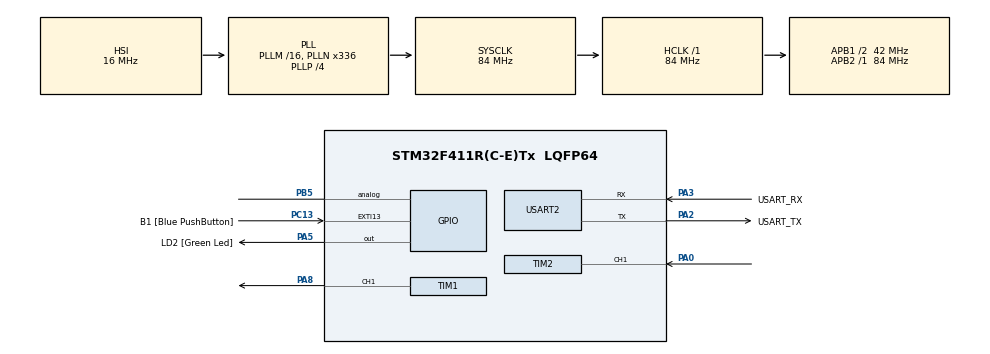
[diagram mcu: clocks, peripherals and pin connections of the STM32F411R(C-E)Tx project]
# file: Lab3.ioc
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Dma.Request0=TIM2_CH1
Dma.TIM2_CH1.0.Direction=DMA_PERIPH_TO_MEMORY
Dma.TIM2_CH1.0.FIFOMode=DMA_FIFOMODE_DISABLE
Dma.TIM2_CH1.0.Instance=DMA1_Stream5
Dma.TIM2_CH1.0.MemDataAlignment=DMA_MDATAALIGN_WORD
Dma.TIM2_CH1.0.MemInc=DMA_MINC_ENABLE
Dma.TIM2_CH1.0.Mode=DMA_CIRCULAR
Dma.TIM2_CH1.0.PeriphDataAlignment=DMA_PDATAALIGN_WORD
Dma.TIM2_CH1.0.PeriphInc=DMA_PINC_DISABLE
Dma.TIM2_CH1.0.Priority=DMA_PRIORITY_LOW
Mcu.Family=STM32F4
Mcu.Name=STM32F411R(C-E)Tx
Mcu.Package=LQFP64
NVIC.DMA1_Stream5_IRQn=true\:0\:0\:false\:false\:true\:false\:true\:true
NVIC.PriorityGroup=NVIC_PRIORITYGROUP_0
PA0-WKUP.Signal=S_TIM2_CH1_ETR
PA13.GPIO_Label=TMS
PA13.Mode=Serial_Wire
PA13.Signal=SYS_JTMS-SWDIO
PA14.GPIO_Label=TCK
PA14.Mode=Serial_Wire
PA14.Signal=SYS_JTCK-SWCLK
PA2.GPIO_Label=USART_TX
PA2.Mode=Asynchronous
PA2.Signal=USART2_TX
PA3.GPIO_Label=USART_RX
PA3.Mode=Asynchronous
PA3.Signal=USART2_RX
PA5.GPIO_Label=LD2 [Green Led]
PA5.Signal=GPIO_Output
PA8.Signal=S_TIM1_CH1
PB3.GPIO_Label=SWO
PB3.Signal=SYS_JTDO-SWO
PB5.Signal=GPIO_Analog
PC13-ANTI_TAMP.GPIO_Label=B1 [Blue PushButton]
PC13-ANTI_TAMP.GPIO_ModeDefaultEXTI=GPIO_MODE_IT_FALLING
PC13-ANTI_TAMP.Signal=GPXTI13
PC14-OSC32_IN.Mode=LSE-External-Oscillator
PC14-OSC32_IN.Signal=RCC_OSC32_IN
PC15-OSC32_OUT.Mode=LSE-External-Oscillator
PC15-OSC32_OUT.Signal=RCC_OSC32_OUT
PH0\ -\ OSC_IN.Mode=HSE-External-Clock-Source
PH0\ -\ OSC_IN.Signal=RCC_OSC_IN
PH1\ -\ OSC_OUT.Mode=HSE-External-Clock-Source
PH1\ -\ OSC_OUT.Signal=RCC_OSC_OUT
ProjectManager.HeapSize=0x200
ProjectManager.StackSize=0x400
ProjectManager.TargetToolchain=STM32CubeIDE
RCC.48MHZClocksFreq_Value=84000000
RCC.AHBFreq_Value=84000000
RCC.APB1CLKDivider=RCC_HCLK_DIV2
RCC.APB1Freq_Value=42000000
RCC.APB1TimFreq_Value=84000000
RCC.APB2Freq_Value=84000000
RCC.APB2TimFreq_Value=84000000
RCC.CortexFreq_Value=84000000
RCC.FLatency-AdvancedSettings=FLASH_LATENCY_2
RCC.HCLKFreq_Value=84000000
RCC.HSE_VALUE=8000000
RCC.HSI_VALUE=16000000
RCC.PLLN=336
RCC.PLLP=RCC_PLLP_DIV4
RCC.SYSCLKFreq_VALUE=84000000
RCC.SYSCLKSource=RCC_SYSCLKSOURCE_PLLCLK
RCC.VCOOutputFreq_Value=336000000
SH.S_TIM1_CH1.0=TIM1_CH1,PWM Generation1 CH1
SH.S_TIM2_CH1_ETR.0=TIM2_CH1,Input_Capture1_from_TI1
TIM1.Channel-PWM\ Generation1\ CH1=TIM_CHANNEL_1
TIM1.Period=999
TIM1.Prescaler=83
TIM2.Channel-Input_Capture1_from_TI1=TIM_CHANNEL_1
TIM2.Prescaler=83
USART2.VirtualMode=VM_ASYNC
VP_TIM1_VS_ClockSourceINT.Mode=Internal
VP_TIM2_VS_ClockSourceINT.Mode=Internal
board=NUCLEO-F411RE

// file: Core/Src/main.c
/* USER CODE BEGIN Header */
/**
  ******************************************************************************
  * @file           : main.c
  * @brief          : Main program body
  ******************************************************************************
  * @attention
  *
  * Copyright (c) 2023 STMicroelectronics.
  * All rights reserved.
  *
  * This software is licensed under terms that can be found in the LICENSE file
  * in the root directory of this software component.
  * If no LICENSE file comes with this software, it is provided AS-IS.
  *
  ******************************************************************************
  */
/* USER CODE END Header */
#include "main.h"

/* USER CODE BEGIN Includes */
#define IC_BUFFER_SIZE 20
/* USER CODE END Includes */

TIM_HandleTypeDef htim1;
TIM_HandleTypeDef htim2;
DMA_HandleTypeDef hdma_tim2_ch1;

UART_HandleTypeDef huart2;

/* USER CODE BEGIN PV */
uint32_t InputCaptuerBuffer[IC_BUFFER_SIZE];
float MotorReadRPM;
float check;

uint32_t MotorSetDuty = 0;
uint32_t duty = 0;
uint8_t set = 0;
uint32_t set_RPM = 0;
uint32_t new_duty = 0;
uint32_t MotorControlEnabel = 0;
/* USER CODE END PV */

void SystemClock_Config(void);
static void MX_GPIO_Init(void);
static void MX_DMA_Init(void);
static void MX_USART2_UART_Init(void);
static void MX_TIM1_Init(void);
static void MX_TIM2_Init(void);
/* USER CODE BEGIN PFP */
int setRPM(float now_rpm, uint32_t setRPM);
float IC_Calc_Period();
/* USER CODE END PFP */

int main(void)
{

  /* MCU Configuration--------------------------------------------------------*/

  /* Reset of all peripherals, Initializes the Flash interface and the Systick. */
  HAL_Init();

  /* Configure the system clock */
  SystemClock_Config();

  /* Initialize all configured peripherals */
  MX_GPIO_Init();
  MX_DMA_Init();
  MX_USART2_UART_Init();
  MX_TIM1_Init();
  MX_TIM2_Init();
  /* USER CODE BEGIN 2 */
  HAL_TIM_Base_Start(&htim2);
  HAL_TIM_IC_Start_DMA(&htim2, TIM_CHANNEL_1, InputCaptuerBuffer, IC_BUFFER_SIZE);

  HAL_TIM_Base_Start(&htim1);
  HAL_TIM_PWM_Start(&htim1, TIM_CHANNEL_1);
  /* USER CODE END 2 */

  /* Infinite loop */
  while (1)
  {

    /* USER CODE BEGIN 3 */
	  static uint32_t timestamp = 0;
	  if(HAL_GetTick()>=timestamp)
	  {
		  timestamp = HAL_GetTick() + 500;
		  MotorReadRPM = IC_Calc_Period();
		  if(MotorControlEnabel == 1)
		  {
			  duty = setRPM(MotorReadRPM,set_RPM);
			  __HAL_TIM_SET_COMPARE(&htim1,TIM_CHANNEL_1,duty);
		  }
		  else
		  {
			  duty = MotorSetDuty*10;
			  __HAL_TIM_SET_COMPARE(&htim1,TIM_CHANNEL_1,duty);
		  }

	  }
  }
  /* USER CODE END 3 */
}

void SystemClock_Config(void)
{
  RCC_OscInitTypeDef RCC_OscInitStruct = {0};
  RCC_ClkInitTypeDef RCC_ClkInitStruct = {0};

  /** Configure the main internal regulator output voltage
  */
  __HAL_RCC_PWR_CLK_ENABLE();
  __HAL_PWR_VOLTAGESCALING_CONFIG(PWR_REGULATOR_VOLTAGE_SCALE1);

  /** Initializes the RCC Oscillators according to the specified parameters
  * in the RCC_OscInitTypeDef structure.
  */
  RCC_OscInitStruct.OscillatorType = RCC_OSCILLATORTYPE_HSI;
  RCC_OscInitStruct.HSIState = RCC_HSI_ON;
  RCC_OscInitStruct.HSICalibrationValue = RCC_HSICALIBRATION_DEFAULT;
  RCC_OscInitStruct.PLL.PLLState = RCC_PLL_ON;
  RCC_OscInitStruct.PLL.PLLSource = RCC_PLLSOURCE_HSI;
  RCC_OscInitStruct.PLL.PLLM = 16;
  RCC_OscInitStruct.PLL.PLLN = 336;
  RCC_OscInitStruct.PLL.PLLP = RCC_PLLP_DIV4;
  RCC_OscInitStruct.PLL.PLLQ = 4;
  if (HAL_RCC_OscConfig(&RCC_OscInitStruct) != HAL_OK)
  {
    Error_Handler();
  }

  /** Initializes the CPU, AHB and APB buses clocks
  */
  RCC_ClkInitStruct.ClockType = RCC_CLOCKTYPE_HCLK|RCC_CLOCKTYPE_SYSCLK
                              |RCC_CLOCKTYPE_PCLK1|RCC_CLOCKTYPE_PCLK2;
  RCC_ClkInitStruct.SYSCLKSource = RCC_SYSCLKSOURCE_PLLCLK;
  RCC_ClkInitStruct.AHBCLKDivider = RCC_SYSCLK_DIV1;
  RCC_ClkInitStruct.APB1CLKDivider = RCC_HCLK_DIV2;
  RCC_ClkInitStruct.APB2CLKDivider = RCC_HCLK_DIV1;

  if (HAL_RCC_ClockConfig(&RCC_ClkInitStruct, FLASH_LATENCY_2) != HAL_OK)
  {
    Error_Handler();
  }
}

static void MX_TIM1_Init(void)
{

  TIM_ClockConfigTypeDef sClockSourceConfig = {0};
  TIM_MasterConfigTypeDef sMasterConfig = {0};
  TIM_OC_InitTypeDef sConfigOC = {0};
  TIM_BreakDeadTimeConfigTypeDef sBreakDeadTimeConfig = {0};

  htim1.Instance = TIM1;
  htim1.Init.Prescaler = 83;
  htim1.Init.CounterMode = TIM_COUNTERMODE_UP;
  htim1.Init.Period = 999;
  htim1.Init.ClockDivision = TIM_CLOCKDIVISION_DIV1;
  htim1.Init.RepetitionCounter = 0;
  htim1.Init.AutoReloadPreload = TIM_AUTORELOAD_PRELOAD_DISABLE;
  if (HAL_TIM_Base_Init(&htim1) != HAL_OK)
  {
    Error_Handler();
  }
  sClockSourceConfig.ClockSource = TIM_CLOCKSOURCE_INTERNAL;
  if (HAL_TIM_ConfigClockSource(&htim1, &sClockSourceConfig) != HAL_OK)
  {
    Error_Handler();
  }
  if (HAL_TIM_PWM_Init(&htim1) != HAL_OK)
  {
    Error_Handler();
  }
  sMasterConfig.MasterOutputTrigger = TIM_TRGO_RESET;
  sMasterConfig.MasterSlaveMode = TIM_MASTERSLAVEMODE_DISABLE;
  if (HAL_TIMEx_MasterConfigSynchronization(&htim1, &sMasterConfig) != HAL_OK)
  {
    Error_Handler();
  }
  sConfigOC.OCMode = TIM_OCMODE_PWM1;
  sConfigOC.Pulse = 0;
  sConfigOC.OCPolarity = TIM_OCPOLARITY_HIGH;
  sConfigOC.OCNPolarity = TIM_OCNPOLARITY_HIGH;
  sConfigOC.OCFastMode = TIM_OCFAST_DISABLE;
  sConfigOC.OCIdleState = TIM_OCIDLESTATE_RESET;
  sConfigOC.OCNIdleState = TIM_OCNIDLESTATE_RESET;
  if (HAL_TIM_PWM_ConfigChannel(&htim1, &sConfigOC, TIM_CHANNEL_1) != HAL_OK)
  {
    Error_Handler();
  }
  sBreakDeadTimeConfig.OffStateRunMode = TIM_OSSR_DISABLE;
  sBreakDeadTimeConfig.OffStateIDLEMode = TIM_OSSI_DISABLE;
  sBreakDeadTimeConfig.LockLevel = TIM_LOCKLEVEL_OFF;
  sBreakDeadTimeConfig.DeadTime = 0;
  sBreakDeadTimeConfig.BreakState = TIM_BREAK_DISABLE;
  sBreakDeadTimeConfig.BreakPolarity = TIM_BREAKPOLARITY_HIGH;
  sBreakDeadTimeConfig.AutomaticOutput = TIM_AUTOMATICOUTPUT_DISABLE;
  if (HAL_TIMEx_ConfigBreakDeadTime(&htim1, &sBreakDeadTimeConfig) != HAL_OK)
  {
    Error_Handler();
  }
  HAL_TIM_MspPostInit(&htim1);

}

static void MX_TIM2_Init(void)
{

  TIM_ClockConfigTypeDef sClockSourceConfig = {0};
  TIM_MasterConfigTypeDef sMasterConfig = {0};
  TIM_IC_InitTypeDef sConfigIC = {0};

  htim2.Instance = TIM2;
  htim2.Init.Prescaler = 83;
  htim2.Init.CounterMode = TIM_COUNTERMODE_UP;
  htim2.Init.Period = 4294967295;
  htim2.Init.ClockDivision = TIM_CLOCKDIVISION_DIV1;
  htim2.Init.AutoReloadPreload = TIM_AUTORELOAD_PRELOAD_DISABLE;
  if (HAL_TIM_Base_Init(&htim2) != HAL_OK)
  {
    Error_Handler();
  }
  sClockSourceConfig.ClockSource = TIM_CLOCKSOURCE_INTERNAL;
  if (HAL_TIM_ConfigClockSource(&htim2, &sClockSourceConfig) != HAL_OK)
  {
    Error_Handler();
  }
  if (HAL_TIM_IC_Init(&htim2) != HAL_OK)
  {
    Error_Handler();
  }
  sMasterConfig.MasterOutputTrigger = TIM_TRGO_RESET;
  sMasterConfig.MasterSlaveMode = TIM_MASTERSLAVEMODE_DISABLE;
  if (HAL_TIMEx_MasterConfigSynchronization(&htim2, &sMasterConfig) != HAL_OK)
  {
    Error_Handler();
  }
  sConfigIC.ICPolarity = TIM_INPUTCHANNELPOLARITY_RISING;
  sConfigIC.ICSelection = TIM_ICSELECTION_DIRECTTI;
  sConfigIC.ICPrescaler = TIM_ICPSC_DIV1;
  sConfigIC.ICFilter = 0;
  if (HAL_TIM_IC_ConfigChannel(&htim2, &sConfigIC, TIM_CHANNEL_1) != HAL_OK)
  {
    Error_Handler();
  }

}

static void MX_USART2_UART_Init(void)
{

  huart2.Instance = USART2;
  huart2.Init.BaudRate = 115200;
  huart2.Init.WordLength = UART_WORDLENGTH_8B;
  huart2.Init.StopBits = UART_STOPBITS_1;
  huart2.Init.Parity = UART_PARITY_NONE;
  huart2.Init.Mode = UART_MODE_TX_RX;
  huart2.Init.HwFlowCtl = UART_HWCONTROL_NONE;
  huart2.Init.OverSampling = UART_OVERSAMPLING_16;
  if (HAL_UART_Init(&huart2) != HAL_OK)
  {
    Error_Handler();
  }

}

static void MX_DMA_Init(void)
{

  /* DMA controller clock enable */
  __HAL_RCC_DMA1_CLK_ENABLE();

  /* DMA interrupt init */
  /* DMA1_Stream5_IRQn interrupt configuration */
  HAL_NVIC_SetPriority(DMA1_Stream5_IRQn, 0, 0);
  HAL_NVIC_EnableIRQ(DMA1_Stream5_IRQn);

}

static void MX_GPIO_Init(void)
{
  GPIO_InitTypeDef GPIO_InitStruct = {0};

  /* GPIO Ports Clock Enable */
  __HAL_RCC_GPIOC_CLK_ENABLE();
  __HAL_RCC_GPIOH_CLK_ENABLE();
  __HAL_RCC_GPIOA_CLK_ENABLE();
  __HAL_RCC_GPIOB_CLK_ENABLE();

  /*Configure GPIO pin Output Level */
  HAL_GPIO_WritePin(LD2_GPIO_Port, LD2_Pin, GPIO_PIN_RESET);

  /*Configure GPIO pin : B1_Pin */
  GPIO_InitStruct.Pin = B1_Pin;
  GPIO_InitStruct.Mode = GPIO_MODE_IT_FALLING;
  GPIO_InitStruct.Pull = GPIO_NOPULL;
  HAL_GPIO_Init(B1_GPIO_Port, &GPIO_InitStruct);

  /*Configure GPIO pin : LD2_Pin */
  GPIO_InitStruct.Pin = LD2_Pin;
  GPIO_InitStruct.Mode = GPIO_MODE_OUTPUT_PP;
  GPIO_InitStruct.Pull = GPIO_NOPULL;
  GPIO_InitStruct.Speed = GPIO_SPEED_FREQ_LOW;
  HAL_GPIO_Init(LD2_GPIO_Port, &GPIO_InitStruct);

  /*Configure GPIO pin : PB5 */
  GPIO_InitStruct.Pin = GPIO_PIN_5;
  GPIO_InitStruct.Mode = GPIO_MODE_ANALOG;
  GPIO_InitStruct.Pull = GPIO_NOPULL;
  HAL_GPIO_Init(GPIOB, &GPIO_InitStruct);

}

/* USER CODE BEGIN 4 */
float IC_Calc_Period()
{

	uint32_t currentDMAPointer = IC_BUFFER_SIZE - __HAL_DMA_GET_COUNTER(htim2.hdma[1]);
	uint32_t lastVaildDMAPointer = (currentDMAPointer-1 + IC_BUFFER_SIZE) % IC_BUFFER_SIZE;
	uint32_t i = (lastVaildDMAPointer + IC_BUFFER_SIZE - 5) % IC_BUFFER_SIZE;

	if(duty == 0 )
		{
			InputCaptuerBuffer[currentDMAPointer] = 0;
			InputCaptuerBuffer[currentDMAPointer-1] = 0;
			InputCaptuerBuffer[currentDMAPointer-2] = 0;
			InputCaptuerBuffer[currentDMAPointer-3] = 0;
			InputCaptuerBuffer[currentDMAPointer-4] = 0;
		}

	int32_t sumdiff = 0;
	while (i != lastVaildDMAPointer)
	{
		uint32_t firstCapture = InputCaptuerBuffer[i];
		uint32_t NextCaptuer = InputCaptuerBuffer[(i+1)%IC_BUFFER_SIZE];
		sumdiff += NextCaptuer - firstCapture;
		i = (i+1)%IC_BUFFER_SIZE;
	}
	if (60/((((sumdiff / 5.0)*12)*64)*0.000001) >= 0 )
	{
		return 60/((((sumdiff / 5.0)*12)*64)*0.000001);
	}
	else
	{
		return 0 ;
	}
}
int setRPM(float now_rpm, uint32_t setRPM)
{
	check = setRPM - now_rpm;
	if(check >= 2)
	{
		new_duty += 50;
	}
	else if(check >= 0.5)
	{
		new_duty += 10;
	}

	return new_duty;
}
/* USER CODE END 4 */

void Error_Handler(void)
{
  __disable_irq();
  while (1)
  {
  }
}
